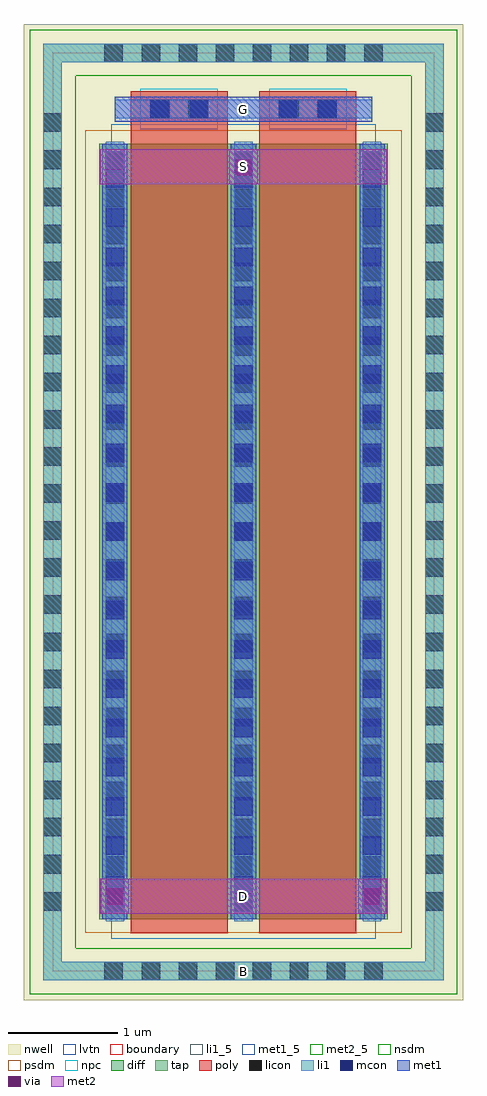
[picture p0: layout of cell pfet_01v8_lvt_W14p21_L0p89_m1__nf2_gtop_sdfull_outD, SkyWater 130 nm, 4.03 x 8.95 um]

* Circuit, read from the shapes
.subckt pfet_01v8_lvt_W14p21_L0p89_m1__nf2_gtop_sdfull_outD B D G S
XM1 S G D B sky130_fd_pr__pfet_01v8_lvt w=7.11 l=0.89 m=2
.ends

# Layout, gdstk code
import gdstk
lib = gdstk.Library(unit=1e-6, precision=1e-09)
def R(c, l, rs):  # rectangles x0, y0, x1, y1
    for r in rs: c.add(gdstk.rectangle(r[:2], r[2:], *l))
def A(c, l, x, y, w, h, nx, ny, dx, dy):  # array of equal rectangles
    R(c, l, [(x+i*dx, y+j*dy, x+i*dx+w, y+j*dy+h) for i in range(nx) for j in range(ny)])
nwell = (64, 20)
diff = (65, 20)
tap = (65, 44)
poly = (66, 20)
licon = (66, 44)
li1_5 = (67, 5)
li1 = (67, 20)
mcon = (67, 44)
met1_5 = (68, 5)
met1 = (68, 20)
via = (68, 44)
met2_5 = (69, 5)
met2 = (69, 20)
nsdm = (93, 44)
psdm = (94, 20)
npc = (95, 20)
lvtn = (125, 44)
boundary = (235, 4)

sky130_fd_pr__pfet_01v8_ = lib.new_cell('sky130_fd_pr__pfet_01v8_lvt_6UU6DM')
R(sky130_fd_pr__pfet_01v8_, nwell, [(-2.015,-4.475,2.015,4.475)])
R(sky130_fd_pr__pfet_01v8_, diff, [(-1.325,-3.735,1.325,3.375)])
R(sky130_fd_pr__pfet_01v8_, tap, [(-1.835,-4.295,1.835,-4.125), (-1.835,-4.125,-1.665,4.125), (1.665,-4.125,1.835,4.125), (-1.835,4.125,1.835,4.295)])
R(sky130_fd_pr__pfet_01v8_, poly, [(-1.035,-3.865,-0.145,3.86), (0.145,-3.865,1.035,3.86)])
A(sky130_fd_pr__pfet_01v8_, licon, -1.275, -4.295, 0.17, 0.17, 8, 2, 0.34, 8.42)
A(sky130_fd_pr__pfet_01v8_, licon, -1.265, -3.665, 0.17, 0.17, 3, 21, 1.18, 0.34)
A(sky130_fd_pr__pfet_01v8_, licon, -1.835, -3.655, 0.17, 0.17, 1, 22, 0, 0.34)
A(sky130_fd_pr__pfet_01v8_, licon, 1.665, -3.655, 0.17, 0.17, 1, 22, 0, 0.34)
R(sky130_fd_pr__pfet_01v8_, licon, [(-0.845,3.61,-0.675,3.78), (-0.505,3.61,-0.335,3.78), (0.335,3.61,0.505,3.78), (0.675,3.61,0.845,3.78)])
A(sky130_fd_pr__pfet_01v8_, li1, -1.265, -3.755, 0.17, 7.15, 3, 1, 1.18, 0)
R(sky130_fd_pr__pfet_01v8_, li1, [(-1.835,-4.295,1.835,-4.125), (-1.835,-4.125,-1.665,4.125), (1.665,-4.125,1.835,4.125), (-1.18,3.61,1.18,3.78), (-1.835,4.125,1.835,4.295)])
A(sky130_fd_pr__pfet_01v8_, mcon, -1.265, -3.505, 0.17, 0.17, 3, 19, 1.18, 0.36)
R(sky130_fd_pr__pfet_01v8_, mcon, [(-0.855,3.61,-0.685,3.78), (-0.495,3.61,-0.325,3.78), (0.325,3.61,0.495,3.78), (0.685,3.61,0.855,3.78)])
A(sky130_fd_pr__pfet_01v8_, met1, -1.295, -3.735, 0.23, 7.11, 3, 1, 1.18, 0)
R(sky130_fd_pr__pfet_01v8_, met1, [(-1.015,3.58,-0.165,3.61), (0.165,3.58,1.015,3.61), (-1.18,3.61,1.18,3.78), (-1.015,3.78,-0.165,3.81), (0.165,3.78,1.015,3.81)])
R(sky130_fd_pr__pfet_01v8_, nsdm, [(-1.96,-4.42,1.96,-4), (-1.96,-4,-1.54,4), (1.54,-4,1.96,4), (-1.96,4,1.96,4.42)])
R(sky130_fd_pr__pfet_01v8_, psdm, [(-1.45,-3.86,1.45,3.5)])
R(sky130_fd_pr__pfet_01v8_, npc, [(-0.945,3.51,-0.235,3.88), (0.235,3.51,0.945,3.88)])
R(sky130_fd_pr__pfet_01v8_, lvtn, [(-1.215,-3.915,1.215,3.555)])
R(sky130_fd_pr__pfet_01v8_, boundary, [(-1.75,-4.21,1.75,4.21)])
sky130_fd_pr__pfet_01v8_.add(gdstk.Label('B', (0,-4.21), layer=67, texttype=5))
sky130_fd_pr__pfet_01v8_.add(gdstk.Label('D0', (-1.18,-0.18), layer=67, texttype=5))
sky130_fd_pr__pfet_01v8_.add(gdstk.Label('G', (0.59,3.695), layer=67, texttype=5))
sky130_fd_pr__pfet_01v8_.add(gdstk.Label('G', (-0.59,3.695), layer=67, texttype=5))
sky130_fd_pr__pfet_01v8_.add(gdstk.Label('S1', (0,-0.18), layer=67, texttype=5))

pfet_01v8_lvt_w14p21_l0p = lib.new_cell('pfet_01v8_lvt_W14p21_L0p89_m1__nf2_gtop_sdfull_outD')
R(pfet_01v8_lvt_w14p21_l0p, li1_5, [(1.665,-0.085,1.835,0.085)])
R(pfet_01v8_lvt_w14p21_l0p, li1, [(1.665,-0.085,1.835,0.085)])
R(pfet_01v8_lvt_w14p21_l0p, met1_5, [(0.57,7.79,2.93,8.02)])
R(pfet_01v8_lvt_w14p21_l0p, met1, [(0.44,0.525,0.7,0.845), (2.8,0.525,3.06,0.845), (1.62,7.215,1.88,7.535), (0.57,7.79,2.93,8.02)])
R(pfet_01v8_lvt_w14p21_l0p, via, [(0.495,0.61,0.645,0.76), (2.855,0.61,3.005,0.76), (1.675,7.3,1.825,7.45)])
R(pfet_01v8_lvt_w14p21_l0p, met2_5, [(0.435,0.525,3.065,0.845), (0.435,7.215,3.065,7.535)])
R(pfet_01v8_lvt_w14p21_l0p, met2, [(0.435,0.525,3.065,0.845), (0.435,7.215,3.065,7.535)])
pfet_01v8_lvt_w14p21_l0p.add(gdstk.Reference(sky130_fd_pr__pfet_01v8_, (1.75,4.21)))
pfet_01v8_lvt_w14p21_l0p.add(gdstk.Label('S', (1.75,7.375), layer=69, texttype=5))
pfet_01v8_lvt_w14p21_l0p.add(gdstk.Label('D', (1.75,0.685), layer=69, texttype=5))
pfet_01v8_lvt_w14p21_l0p.add(gdstk.Label('G', (1.75,7.905), layer=68, texttype=5))
pfet_01v8_lvt_w14p21_l0p.add(gdstk.Label('B', (1.75,0), layer=67, texttype=5))

lib.write_gds('pfet_01v8_lvt_W14p21_L0p89_m1__nf2_gtop_sdfull_outD.gds')
